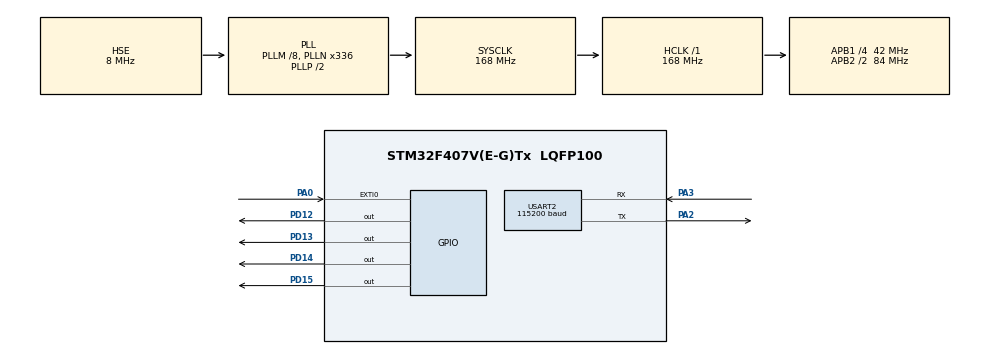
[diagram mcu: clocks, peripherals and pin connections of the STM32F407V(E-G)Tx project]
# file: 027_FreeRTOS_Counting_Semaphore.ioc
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FREERTOS.Tasks01=defaultTask,24,128,StartDefaultTask,Default,NULL,Dynamic,NULL,NULL
FREERTOS.configUSE_NEWLIB_REENTRANT=1
Mcu.Family=STM32F4
Mcu.Name=STM32F407V(E-G)Tx
Mcu.Package=LQFP100
NVIC.EXTI0_IRQn=true\:5\:0\:false\:false\:true\:true\:true\:true\:true
NVIC.PriorityGroup=NVIC_PRIORITYGROUP_4
NVIC.TIM8_TRG_COM_TIM14_IRQn=true\:15\:0\:false\:false\:true\:false\:false\:true\:true
NVIC.TimeBase=TIM8_TRG_COM_TIM14_IRQn
NVIC.TimeBaseIP=TIM14
NVIC.USART2_IRQn=true\:5\:0\:false\:false\:true\:true\:true\:true\:true
PA0-WKUP.Signal=GPXTI0
PA2.Mode=Asynchronous
PA2.Signal=USART2_TX
PA3.Mode=Asynchronous
PA3.Signal=USART2_RX
PD12.Signal=GPIO_Output
PD13.Signal=GPIO_Output
PD14.Signal=GPIO_Output
PD15.Signal=GPIO_Output
PH0-OSC_IN.Mode=HSE-External-Oscillator
PH0-OSC_IN.Signal=RCC_OSC_IN
PH1-OSC_OUT.Mode=HSE-External-Oscillator
PH1-OSC_OUT.Signal=RCC_OSC_OUT
ProjectManager.HeapSize=0x200
ProjectManager.StackSize=0x400
ProjectManager.TargetToolchain=STM32CubeIDE
RCC.48MHZClocksFreq_Value=48000000
RCC.AHBFreq_Value=168000000
RCC.APB1CLKDivider=RCC_HCLK_DIV4
RCC.APB1Freq_Value=42000000
RCC.APB1TimFreq_Value=84000000
RCC.APB2CLKDivider=RCC_HCLK_DIV2
RCC.APB2Freq_Value=84000000
RCC.APB2TimFreq_Value=168000000
RCC.CortexFreq_Value=168000000
RCC.HCLKFreq_Value=168000000
RCC.HSE_VALUE=8000000
RCC.HSI_VALUE=16000000
RCC.LSE_VALUE=32768
RCC.PLLM=8
RCC.PLLN=336
RCC.PLLQ=7
RCC.PLLSourceVirtual=RCC_PLLSOURCE_HSE
RCC.SYSCLKFreq_VALUE=168000000
RCC.SYSCLKSource=RCC_SYSCLKSOURCE_PLLCLK
RCC.VCOOutputFreq_Value=336000000
USART2.BaudRate=115200
USART2.VirtualMode=VM_ASYNC
VP_FREERTOS_VS_CMSIS_V2.Mode=CMSIS_V2
VP_SYS_VS_tim14.Mode=TIM14
board=STM32F407G-DISC1

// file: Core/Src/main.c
/* USER CODE BEGIN Header */
/**
  ******************************************************************************
  * @file           : main.c
  * @brief          : Main program body
  ******************************************************************************
  * @attention
  *
  * Copyright (c) 2023 STMicroelectronics.
  * All rights reserved.
  *
  * This software is licensed under terms that can be found in the LICENSE file
  * in the root directory of this software component.
  * If no LICENSE file comes with this software, it is provided AS-IS.
  *
  ******************************************************************************
  */
/* USER CODE END Header */
#include "main.h"

/* USER CODE BEGIN Includes */
#include "FreeRTOS.h"
#include "task.h"
#include "queue.h"
#include "semphr.h"
#include <string.h>
#include <stdio.h>
/* USER CODE END Includes */

UART_HandleTypeDef huart2;

/* Definitions for defaultTask */

/* USER CODE BEGIN PV */
SemaphoreHandle_t xCountingSemaphore = NULL;
/* USER CODE END PV */

void SystemClock_Config(void);
static void MX_GPIO_Init(void);
static void MX_USART2_UART_Init(void);

/* USER CODE BEGIN 0 */
void HAL_GPIO_EXTI_Callback(uint16_t GPIO_Pin)
{
  if(GPIO_Pin == GPIO_PIN_0)
  {
	  BaseType_t xHigherPriorityTaskWoken = pdFALSE;

	  xSemaphoreGiveFromISR(xCountingSemaphore, &xHigherPriorityTaskWoken);
	  xSemaphoreGiveFromISR(xCountingSemaphore, &xHigherPriorityTaskWoken);
	  xSemaphoreGiveFromISR(xCountingSemaphore, &xHigherPriorityTaskWoken);
	  portYIELD_FROM_ISR(xHigherPriorityTaskWoken);
  }
}
void vButtonHandlerTask(void *pvParameters)
{
	const char *msg = "Button was pressed!\r\n";
	const TickType_t xMaxExpectedBlockTime = pdMS_TO_TICKS(5000);
	const char *errmsg = "Press Press the Button. Been 5 second since last press\r\n";
	char buffer[100];
	for(;;)
	{
		if(xSemaphoreTake(xCountingSemaphore, xMaxExpectedBlockTime) == pdFAIL)
			HAL_UART_Transmit(&huart2, (uint8_t*)errmsg, strlen(errmsg), HAL_MAX_DELAY);
		else
			HAL_UART_Transmit(&huart2, (uint8_t*)msg, strlen(msg), HAL_MAX_DELAY);
	}
}
/* USER CODE END 0 */

int main(void)
{

  /* MCU Configuration--------------------------------------------------------*/

  /* Reset of all peripherals, Initializes the Flash interface and the Systick. */
  HAL_Init();

  /* Configure the system clock */
  SystemClock_Config();

  /* Initialize all configured peripherals */
  MX_GPIO_Init();
  MX_USART2_UART_Init();
  /* USER CODE BEGIN 2 */
  xCountingSemaphore = xSemaphoreCreateCounting(10, 0);
  xTaskCreate(vButtonHandlerTask,"Handler", configMINIMAL_STACK_SIZE, NULL, 1,NULL);
  vTaskStartScheduler();

  /* USER CODE END 2 */

  /* Init scheduler */

  /* Create the thread(s) */
  /* creation of defaultTask */

  /* Start scheduler */
  /* We should never get here as control is now taken by the scheduler */
  /* Infinite loop */
  while (1)
  {

  }
}

void SystemClock_Config(void)
{
  RCC_OscInitTypeDef RCC_OscInitStruct = {0};
  RCC_ClkInitTypeDef RCC_ClkInitStruct = {0};

  /** Configure the main internal regulator output voltage
  */
  __HAL_RCC_PWR_CLK_ENABLE();
  __HAL_PWR_VOLTAGESCALING_CONFIG(PWR_REGULATOR_VOLTAGE_SCALE1);

  /** Initializes the RCC Oscillators according to the specified parameters
  * in the RCC_OscInitTypeDef structure.
  */
  RCC_OscInitStruct.OscillatorType = RCC_OSCILLATORTYPE_HSE;
  RCC_OscInitStruct.HSEState = RCC_HSE_ON;
  RCC_OscInitStruct.PLL.PLLState = RCC_PLL_ON;
  RCC_OscInitStruct.PLL.PLLSource = RCC_PLLSOURCE_HSE;
  RCC_OscInitStruct.PLL.PLLM = 8;
  RCC_OscInitStruct.PLL.PLLN = 336;
  RCC_OscInitStruct.PLL.PLLP = RCC_PLLP_DIV2;
  RCC_OscInitStruct.PLL.PLLQ = 7;
  if (HAL_RCC_OscConfig(&RCC_OscInitStruct) != HAL_OK)
  {
    Error_Handler();
  }

  /** Initializes the CPU, AHB and APB buses clocks
  */
  RCC_ClkInitStruct.ClockType = RCC_CLOCKTYPE_HCLK|RCC_CLOCKTYPE_SYSCLK
                              |RCC_CLOCKTYPE_PCLK1|RCC_CLOCKTYPE_PCLK2;
  RCC_ClkInitStruct.SYSCLKSource = RCC_SYSCLKSOURCE_PLLCLK;
  RCC_ClkInitStruct.AHBCLKDivider = RCC_SYSCLK_DIV1;
  RCC_ClkInitStruct.APB1CLKDivider = RCC_HCLK_DIV4;
  RCC_ClkInitStruct.APB2CLKDivider = RCC_HCLK_DIV2;

  if (HAL_RCC_ClockConfig(&RCC_ClkInitStruct, FLASH_LATENCY_5) != HAL_OK)
  {
    Error_Handler();
  }
}

static void MX_USART2_UART_Init(void)
{

  huart2.Instance = USART2;
  huart2.Init.BaudRate = 115200;
  huart2.Init.WordLength = UART_WORDLENGTH_8B;
  huart2.Init.StopBits = UART_STOPBITS_1;
  huart2.Init.Parity = UART_PARITY_NONE;
  huart2.Init.Mode = UART_MODE_TX_RX;
  huart2.Init.HwFlowCtl = UART_HWCONTROL_NONE;
  huart2.Init.OverSampling = UART_OVERSAMPLING_16;
  if (HAL_UART_Init(&huart2) != HAL_OK)
  {
    Error_Handler();
  }

}

static void MX_GPIO_Init(void)
{
  GPIO_InitTypeDef GPIO_InitStruct = {0};

  /* GPIO Ports Clock Enable */
  __HAL_RCC_GPIOH_CLK_ENABLE();
  __HAL_RCC_GPIOA_CLK_ENABLE();
  __HAL_RCC_GPIOD_CLK_ENABLE();

  /*Configure GPIO pin Output Level */
  HAL_GPIO_WritePin(GPIOD, GPIO_PIN_12|GPIO_PIN_13|GPIO_PIN_14|GPIO_PIN_15, GPIO_PIN_RESET);

  /*Configure GPIO pin : PA0 */
  GPIO_InitStruct.Pin = GPIO_PIN_0;
  GPIO_InitStruct.Mode = GPIO_MODE_IT_RISING;
  GPIO_InitStruct.Pull = GPIO_NOPULL;
  HAL_GPIO_Init(GPIOA, &GPIO_InitStruct);

  /*Configure GPIO pins : PD12 PD13 PD14 PD15 */
  GPIO_InitStruct.Pin = GPIO_PIN_12|GPIO_PIN_13|GPIO_PIN_14|GPIO_PIN_15;
  GPIO_InitStruct.Mode = GPIO_MODE_OUTPUT_PP;
  GPIO_InitStruct.Pull = GPIO_NOPULL;
  GPIO_InitStruct.Speed = GPIO_SPEED_FREQ_LOW;
  HAL_GPIO_Init(GPIOD, &GPIO_InitStruct);

  /* EXTI interrupt init*/
  HAL_NVIC_SetPriority(EXTI0_IRQn, 5, 0);
  HAL_NVIC_EnableIRQ(EXTI0_IRQn);

}

void HAL_TIM_PeriodElapsedCallback(TIM_HandleTypeDef *htim)
{
  if (htim->Instance == TIM14) {
    HAL_IncTick();
  }
}

void Error_Handler(void)
{
  __disable_irq();
  while (1)
  {
  }
}
